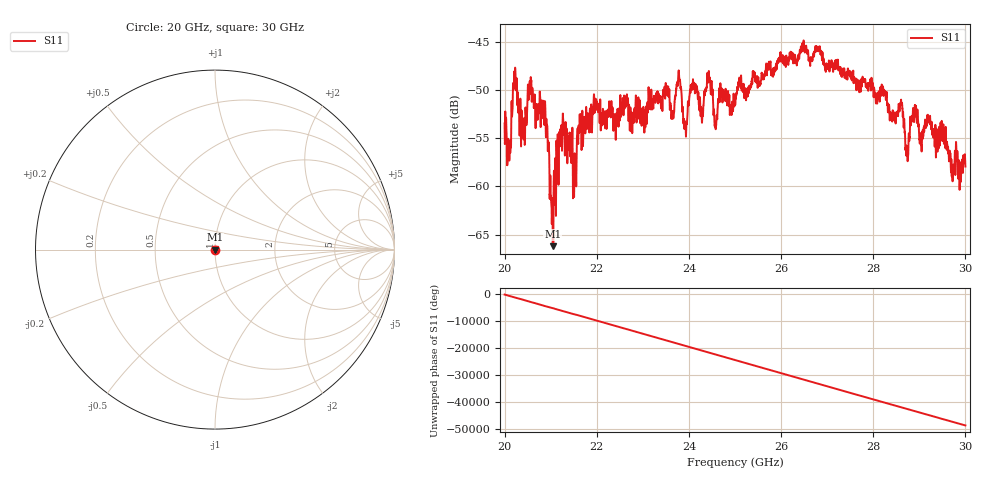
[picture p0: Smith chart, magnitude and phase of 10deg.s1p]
#  HZ  S  RI  R  50.00
! Rohde & Schwarz ZVA40 4Ports - Version 3.90 - 1145.1110k42 SN: 100403
! Date: 2023-10-03 10:23:29
! Measurement: S12
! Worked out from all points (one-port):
!   5001 points, 20 GHz to 30 GHz, reference 50 ohm
!   lowest |S11| = -66.2 dB at 21.05 GHz (marker M1), VSWR 1.00, Z = 50 - j0.0457 ohm
!   |S11| at or under -10 dB: start of sweep to end of sweep
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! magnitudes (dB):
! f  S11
! 20 GHz  -53.5
! 20.09 GHz  -55.6
! 20.22 GHz  -48.0
! 20.4 GHz  -54.1
! 20.58 GHz  -49.1
! 20.88 GHz  -51.9
! 21.05 GHz  -66.2
! 21.25 GHz  -55.1
! 21.53 GHz  -56.8
! 21.62 GHz  -54.2
! 21.96 GHz  -52.0
! 22.5 GHz  -53.2
! 23.51 GHz  -50.4
! 23.63 GHz  -52.2
! 23.75 GHz  -49.1
! 23.92 GHz  -53.3
! 24.07 GHz  -49.5
! 24.27 GHz  -51.9
! 24.44 GHz  -49.0
! 24.58 GHz  -53.7
! 24.7 GHz  -50.5
! 25 GHz  -50.9
! 26.25 GHz  -46.4
! 27.5 GHz  -48.2
! 28.6 GHz  -51.5
! 28.75 GHz  -57.0
! 28.91 GHz  -51.9
! 30 GHz  -57.9
